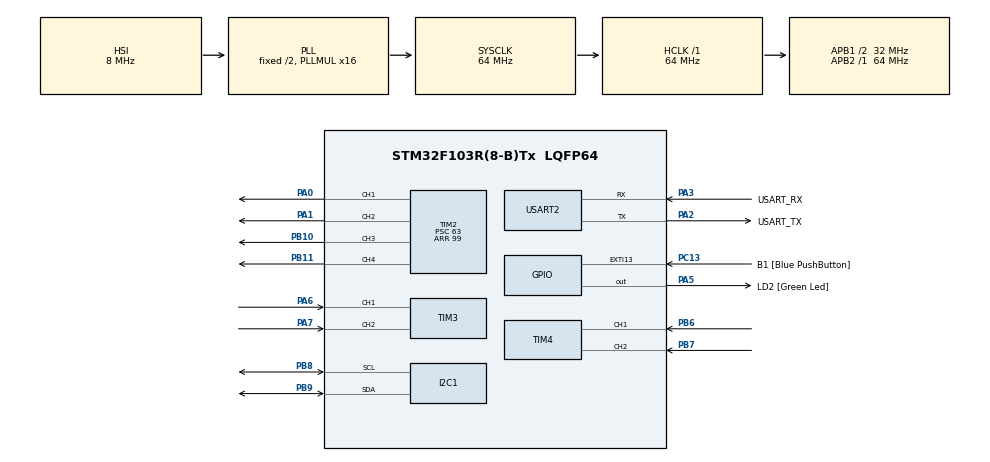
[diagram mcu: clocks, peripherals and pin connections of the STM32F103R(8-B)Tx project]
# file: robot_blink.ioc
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Mcu.Family=STM32F1
Mcu.Name=STM32F103R(8-B)Tx
Mcu.Package=LQFP64
NVIC.EXTI15_10_IRQn=true\:0\:0\:false\:false\:true\:true\:true\:true
NVIC.PriorityGroup=NVIC_PRIORITYGROUP_4
PA0-WKUP.Signal=S_TIM2_CH1_ETR
PA1.Signal=S_TIM2_CH2
PA13.GPIO_Label=TMS
PA13.Mode=Serial_Wire
PA13.Signal=SYS_JTMS-SWDIO
PA14.GPIO_Label=TCK
PA14.Mode=Serial_Wire
PA14.Signal=SYS_JTCK-SWCLK
PA2.GPIO_Label=USART_TX
PA2.GPIO_Mode=GPIO_MODE_AF_PP
PA2.GPIO_PuPd=GPIO_NOPULL
PA2.GPIO_Speed=GPIO_SPEED_FREQ_LOW
PA2.Mode=Asynchronous
PA2.Signal=USART2_TX
PA3.GPIO_Label=USART_RX
PA3.GPIO_Mode=GPIO_MODE_AF_PP
PA3.GPIO_PuPd=GPIO_NOPULL
PA3.GPIO_Speed=GPIO_SPEED_FREQ_LOW
PA3.Mode=Asynchronous
PA3.Signal=USART2_RX
PA5.GPIO_Label=LD2 [Green Led]
PA5.GPIO_ModeDefaultOutputPP=GPIO_MODE_OUTPUT_PP
PA5.GPIO_PuPd=GPIO_NOPULL
PA5.GPIO_Speed=GPIO_SPEED_FREQ_LOW
PA5.Signal=GPIO_Output
PA6.Signal=S_TIM3_CH1
PA7.Signal=S_TIM3_CH2
PB10.Signal=S_TIM2_CH3
PB11.Signal=S_TIM2_CH4
PB3.GPIO_Label=SWO
PB3.Signal=SYS_JTDO-TRACESWO
PB6.Signal=S_TIM4_CH1
PB7.Signal=S_TIM4_CH2
PB8.Mode=I2C
PB8.Signal=I2C1_SCL
PB9.Mode=I2C
PB9.Signal=I2C1_SDA
PC13-TAMPER-RTC.GPIO_Label=B1 [Blue PushButton]
PC13-TAMPER-RTC.GPIO_PuPd=GPIO_NOPULL
PC13-TAMPER-RTC.Signal=GPXTI13
PC14-OSC32_IN.Mode=LSE-External-Oscillator
PC14-OSC32_IN.Signal=RCC_OSC32_IN
PC15-OSC32_OUT.Mode=LSE-External-Oscillator
PC15-OSC32_OUT.Signal=RCC_OSC32_OUT
PD0-OSC_IN.Mode=HSE-External-Clock-Source
PD0-OSC_IN.Signal=RCC_OSC_IN
PD1-OSC_OUT.Mode=HSE-External-Clock-Source
PD1-OSC_OUT.Signal=RCC_OSC_OUT
ProjectManager.HeapSize=0x200
ProjectManager.StackSize=0x400
ProjectManager.TargetToolchain=CMake
RCC.AHBFreq_Value=64000000
RCC.APB1CLKDivider=RCC_HCLK_DIV2
RCC.APB1Freq_Value=32000000
RCC.APB1TimFreq_Value=64000000
RCC.APB2Freq_Value=64000000
RCC.APB2TimFreq_Value=64000000
RCC.HCLKFreq_Value=64000000
RCC.PLLMUL=RCC_PLL_MUL16
RCC.RTCClockSelection=RCC_RTCCLKSOURCE_LSE
RCC.SYSCLKFreq_VALUE=64000000
RCC.SYSCLKSource=RCC_SYSCLKSOURCE_PLLCLK
RCC.USBFreq_Value=64000000
SH.S_TIM2_CH1_ETR.0=TIM2_CH1,PWM Generation1 CH1
SH.S_TIM2_CH2.0=TIM2_CH2,PWM Generation2 CH2
SH.S_TIM2_CH3.0=TIM2_CH3,PWM Generation3 CH3
SH.S_TIM2_CH4.0=TIM2_CH4,PWM Generation4 CH4
SH.S_TIM3_CH1.0=TIM3_CH1,Encoder_Interface
SH.S_TIM3_CH2.0=TIM3_CH2,Encoder_Interface
SH.S_TIM4_CH1.0=TIM4_CH1,Encoder_Interface
SH.S_TIM4_CH2.0=TIM4_CH2,Encoder_Interface
TIM2.Channel-PWM\ Generation1\ CH1=TIM_CHANNEL_1
TIM2.Channel-PWM\ Generation2\ CH2=TIM_CHANNEL_2
TIM2.Channel-PWM\ Generation3\ CH3=TIM_CHANNEL_3
TIM2.Channel-PWM\ Generation4\ CH4=TIM_CHANNEL_4
TIM2.Period=99
TIM2.Prescaler=63
USART2.VirtualMode=VM_ASYNC
board=NUCLEO-F103RB

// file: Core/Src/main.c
/* USER CODE BEGIN Header */
/**
  ******************************************************************************
  * @file           : main.c
  * @brief          : Main program body
  ******************************************************************************
  * @attention
  *
  * Copyright (c) 2026 STMicroelectronics.
  * All rights reserved.
  *
  * This software is licensed under terms that can be found in the LICENSE file
  * in the root directory of this software component.
  * If no LICENSE file comes with this software, it is provided AS-IS.
  *
  ******************************************************************************
  */
/* USER CODE END Header */
#include "main.h"
#include "stm32f1xx_hal.h"
#include "stm32f1xx_hal_i2c.h"
#include "stm32f1xx_hal_tim.h"
#include <math.h>
#include <stdint.h>
#include <stdio.h>
#include <string.h>

/* USER CODE BEGIN PD */
#define MIN_DUTY 9
/* USER CODE END PD */

I2C_HandleTypeDef hi2c1;

TIM_HandleTypeDef htim2;
TIM_HandleTypeDef htim3;
TIM_HandleTypeDef htim4;

UART_HandleTypeDef huart2;

/* USER CODE BEGIN PV */

uint32_t  time_old=0;
float target_ang=1.0;
float gyro_ang = 0; //angle derived from integration
float  comp_ang =0; //complimentary angle derived from both gyro and acceleration sensor

float Kp = 30;          // very stiff: full authority by ~3 deg
float Kd = 0.4;         // heavy damping to survive the stiffness
float Ki = 0;           // out of the picture entirely

float gyro_f = 0;

float integral =0;

//define integer 32bits
uint32_t loop_count=0;

    //CAlIBRATION OF ACCELEROMETER OFFSETS X Y AND Z:

    //DEFINE CONSTANTS AND DECLAER

/* USER CODE END PV */

void SystemClock_Config(void);
static void MX_GPIO_Init(void);
static void MX_USART2_UART_Init(void);
static void MX_I2C1_Init(void);
static void MX_TIM3_Init(void);
static void MX_TIM4_Init(void);
static void MX_TIM2_Init(void);

/* USER CODE BEGIN 0 */

//gyro around y axis is pitch in our case, around x roll and z yaw, x and z gyro should be zero
void readIMU(int16_t *aX, int16_t *aY, int16_t *aZ, int16_t *gX, int16_t *gY, int16_t *gZ){

    uint8_t accel_data[6];

    //read accel data
    HAL_I2C_Mem_Read(&hi2c1, 0x68<<1,0x3B, 1, accel_data, 6, 100);

    uint8_t gyro_data[6];

    //read gyro data
    HAL_I2C_Mem_Read(&hi2c1, 0x68<<1,0x43, 1, gyro_data, 6, 100);

*aX=(accel_data[0]<<8) |accel_data[1];

*aY=(accel_data[2] <<8) |accel_data[3];

*aZ=(accel_data[4] <<8) |accel_data[5];

*gX=(gyro_data[0] <<8) |gyro_data[1];

*gY=(gyro_data[2] <<8) |gyro_data[3];

*gZ=(gyro_data[4] <<8) |gyro_data[5];
}

float PID(float dt,float comp_ang,float gyro_Z_deg){

    //PID LOOP
     //1 is the balance point for the robot as center of mass is slightly in the back
    float error = target_ang - comp_ang;

    //Kp constant = stiffeness of the spring with respect to current error size
    float P=Kp*error;

    //Kd constant = stiffeness with respect to speed of error changing
    float D = Kd*(-gyro_Z_deg);

    //Ki stiffeness/ reaction to KI error

 if (error > 1.5f || error < -1.5f){
       integral += error*dt;
   if (integral > 60) integral = 60;
   if (integral < -60) integral = -60;
 }

    float I = Ki*integral;

    //adding response
    return(P+I+D);
}

/* USER CODE END 0 */

int main(void)
{

  /* MCU Configuration--------------------------------------------------------*/

  /* Reset of all peripherals, Initializes the Flash interface and the Systick. */

  HAL_Init();

  /* Configure the system clock */
  SystemClock_Config();

  /* Initialize all configured peripherals */
  MX_GPIO_Init();
  MX_USART2_UART_Init();
  MX_I2C1_Init();
  MX_TIM3_Init();
  MX_TIM4_Init();
  MX_TIM2_Init();
  /* USER CODE BEGIN 2 */
  // wake up the MPU6050

  HAL_TIM_PWM_Start(&htim2, TIM_CHANNEL_1); //starts pin that connect to motor controller
  HAL_TIM_PWM_Start(&htim2, TIM_CHANNEL_2);

  HAL_TIM_PWM_Start(&htim2, TIM_CHANNEL_3); //starts pin that connect to motor controller
  HAL_TIM_PWM_Start(&htim2, TIM_CHANNEL_4);

  uint8_t wakeup = 0; //creates variable with assiged value 0

  uint8_t dlpf_setting= 3; // 44Hz

  HAL_I2C_Mem_Write(&hi2c1, 0x68<<1,0x1A,1,&dlpf_setting,1,100);

  // peripherrral name, mpu6050s address, register (power maagemet rergister), the adrress size (1 byte), poiter to the data im sending (wakekup varrriable is 0), how many bittes o send (1), timeoutt i ms (100ms++ imeou)
  HAL_I2C_Mem_Write(&hi2c1, 0x68<<1,0x6B,1,&wakeup,1,100);

    //CALIBRATE GYRO ON STARTUP WHILE NOTHING IS TILTING
      //LOOP THAT TAKES 500 READINGS OF GYRO AND REMOVIES BIAS (IF FLAT THEN X AND Y)

  /* USER CODE END 2 */

  /* Infinite loop */
  /* USER CODE BEGIN WHILE */
  while (1)

  {
    uint32_t now=HAL_GetTick();

    float dt=(now-time_old)/ 1000.0; //.0 is important to keep it a float

    time_old=now;

    /* USER CODE END WHILE */

    /* USER CODE BEGIN 3 */

  //read accelerometer code

    //create buffer

      int16_t accel_X;

      int16_t accel_Y;

      int16_t accel_Z;

      int16_t gyro_X;

      int16_t gyro_Y;

      int16_t gyro_Z;

      readIMU(&accel_X, &accel_Y, &accel_Z, &gyro_X, &gyro_Y, &gyro_Z);

      float angle_accel;
    angle_accel= atan2(-accel_Y,-accel_X);

      float angle_accel2;
    angle_accel2= atan2(accel_Y,-accel_X);

      float angle_deg_accel;

    angle_deg_accel=(angle_accel*180)/3.14159;

      float angle_deg_accel2;
    angle_deg_accel2=(angle_accel2*180)/3.14159;

      float gyro_Z_deg; //gyro in deg/s

gyro_Z_deg = -gyro_Z/131.0f;                 // (your existing line, sign included)
gyro_f = 0.7f * gyro_f + 0.3f * gyro_Z_deg;  // smoothing AFTER the value exists //output for gyro gets sent as 131/degree of rotation

      //integrate to get angle purely based on gyro

       gyro_ang = gyro_ang + gyro_f*dt;

      //integrate based on complimentary filter

        comp_ang = (comp_ang + (gyro_f*dt))*0.98 + angle_deg_accel*0.02;

    //print over UART
      //creates a buffer forr the text
    char msg[128];
      //replace each space by a number in order of X Y Z X...
    loop_count++;

    float output= -PID(dt,comp_ang,gyro_f);
    float mag = output; //mag is how much powerr is set ot motorr (magitude of pulse width)

    //absolute value
    if (mag<0){
    mag = -mag;
    }
    //clamp magnitude
    if (mag > 99){
      mag=90; //max duty is 99 but we'll clamp at 99
    }

    int duty=0;

    float err_now = comp_ang - target_ang;
        if (err_now > -2.5f && err_now < 2.5f && gyro_f > -40 && gyro_f < 40){
    duty = 0;
} else {
        duty = (int)(MIN_DUTY + mag * (99.0f - MIN_DUTY) / 90.0f);
    }

    if (mag<5){
     duty =0;
    }
    else{
    duty = (int)(MIN_DUTY + (mag - 5) * (99.0 - MIN_DUTY) / 85.0);
    }
    //safety switch (more than 45 means robot cant be saved so just stop spinning)

    if (comp_ang>45 || comp_ang<-45){
      __HAL_TIM_SET_COMPARE(&htim2, TIM_CHANNEL_1, 99);
      __HAL_TIM_SET_COMPARE(&htim2, TIM_CHANNEL_2, 99);
      __HAL_TIM_SET_COMPARE(&htim2, TIM_CHANNEL_3, 99);
     __HAL_TIM_SET_COMPARE(&htim2, TIM_CHANNEL_4, 99);
    }

    //if output is positive, spin forwards
    else{
      if (output>=0){
        __HAL_TIM_SET_COMPARE(&htim2, TIM_CHANNEL_2, 99-duty); //timer 2 chanel 1, PWM and two
        __HAL_TIM_SET_COMPARE(&htim2, TIM_CHANNEL_1, 99);
      //spin backwards
      }
      else if (output<0){
        __HAL_TIM_SET_COMPARE(&htim2, TIM_CHANNEL_1, 99-duty); //timer 2 chanel 1, PWM and two
        __HAL_TIM_SET_COMPARE(&htim2, TIM_CHANNEL_2, 99);
      }

      //motor B
      if (output>=0){
        __HAL_TIM_SET_COMPARE(&htim2, TIM_CHANNEL_4, 99-duty); //timer 2 chanel 1, PWM and two
        __HAL_TIM_SET_COMPARE(&htim2, TIM_CHANNEL_3, 99);
      }
      else if (output<0){
        __HAL_TIM_SET_COMPARE(&htim2, TIM_CHANNEL_3, 99-duty); //timer 2 chanel 1, PWM and two
        __HAL_TIM_SET_COMPARE(&htim2, TIM_CHANNEL_4, 99);
      }
    }
    if (loop_count>=50){ //every 50 loops (250 ms with 5ms delay)
      loop_count=0; //reset loop count

    //builds the strink to send over uart

sprintf(msg,"V12 a:%d c:%d g:%d out:%d d:%d\r\n",
    (int)angle_deg_accel,(int)comp_ang,(int)gyro_f,(int)output,(int)duty);

    //sprintf(msg,"Angle(acc): %d Angle(gyr): %d Angle_comp: %d inst_angle_gyro: %d (deg/s)\r\n ",(int)angle_deg_accel,(int)gyro_ang, (int)comp_ang, (int)gyro_Z_deg);

      //Send text over UART:
      //configured uart, text to send in bites, length of message (string), timeout if no response
      HAL_UART_Transmit(&huart2, (uint8_t*)msg, strlen(msg), 100);

    } //only prints 4 times/s

    HAL_Delay(5); //only 5ms delay to make frequency 200HZ

    //read values when lying in each of 6 axis to get offset in acceleration

    //values/16384 * 9.81 = accel in m/s^2

    //make complementary filter out of gyro and accel angle
    //0.98*(gyro current angle + dt*gyro(instantaneous))+0.02*(tan2(xaccel, zaccel)*180/3.14159)   we converted from rad to degrees

    //atan2 is needed to distinguish between - angles and + angles

    //PID loop and 3 constants: actually control the wheels and send commands
  /* USER CODE END 3 */
}
}
void SystemClock_Config(void)
{
  RCC_OscInitTypeDef RCC_OscInitStruct = {0};
  RCC_ClkInitTypeDef RCC_ClkInitStruct = {0};

  /** Initializes the RCC Oscillators according to the specified parameters
  * in the RCC_OscInitTypeDef structure.
  */
  RCC_OscInitStruct.OscillatorType = RCC_OSCILLATORTYPE_HSI;
  RCC_OscInitStruct.HSIState = RCC_HSI_ON;
  RCC_OscInitStruct.HSICalibrationValue = RCC_HSICALIBRATION_DEFAULT;
  RCC_OscInitStruct.PLL.PLLState = RCC_PLL_ON;
  RCC_OscInitStruct.PLL.PLLSource = RCC_PLLSOURCE_HSI_DIV2;
  RCC_OscInitStruct.PLL.PLLMUL = RCC_PLL_MUL16;
  if (HAL_RCC_OscConfig(&RCC_OscInitStruct) != HAL_OK)
  {
    Error_Handler();
  }

  /** Initializes the CPU, AHB and APB buses clocks
  */
  RCC_ClkInitStruct.ClockType = RCC_CLOCKTYPE_HCLK|RCC_CLOCKTYPE_SYSCLK
                              |RCC_CLOCKTYPE_PCLK1|RCC_CLOCKTYPE_PCLK2;
  RCC_ClkInitStruct.SYSCLKSource = RCC_SYSCLKSOURCE_PLLCLK;
  RCC_ClkInitStruct.AHBCLKDivider = RCC_SYSCLK_DIV1;
  RCC_ClkInitStruct.APB1CLKDivider = RCC_HCLK_DIV2;
  RCC_ClkInitStruct.APB2CLKDivider = RCC_HCLK_DIV1;

  if (HAL_RCC_ClockConfig(&RCC_ClkInitStruct, FLASH_LATENCY_2) != HAL_OK)
  {
    Error_Handler();
  }
}

static void MX_I2C1_Init(void)
{

  hi2c1.Instance = I2C1;
  hi2c1.Init.ClockSpeed = 100000;
  hi2c1.Init.DutyCycle = I2C_DUTYCYCLE_2;
  hi2c1.Init.OwnAddress1 = 0;
  hi2c1.Init.AddressingMode = I2C_ADDRESSINGMODE_7BIT;
  hi2c1.Init.DualAddressMode = I2C_DUALADDRESS_DISABLE;
  hi2c1.Init.OwnAddress2 = 0;
  hi2c1.Init.GeneralCallMode = I2C_GENERALCALL_DISABLE;
  hi2c1.Init.NoStretchMode = I2C_NOSTRETCH_DISABLE;
  if (HAL_I2C_Init(&hi2c1) != HAL_OK)
  {
    Error_Handler();
  }

}

static void MX_TIM2_Init(void)
{

  TIM_MasterConfigTypeDef sMasterConfig = {0};
  TIM_OC_InitTypeDef sConfigOC = {0};

  htim2.Instance = TIM2;
  htim2.Init.Prescaler = 63;
  htim2.Init.CounterMode = TIM_COUNTERMODE_UP;
  htim2.Init.Period = 99;
  htim2.Init.ClockDivision = TIM_CLOCKDIVISION_DIV1;
  htim2.Init.AutoReloadPreload = TIM_AUTORELOAD_PRELOAD_DISABLE;
  if (HAL_TIM_PWM_Init(&htim2) != HAL_OK)
  {
    Error_Handler();
  }
  sMasterConfig.MasterOutputTrigger = TIM_TRGO_RESET;
  sMasterConfig.MasterSlaveMode = TIM_MASTERSLAVEMODE_DISABLE;
  if (HAL_TIMEx_MasterConfigSynchronization(&htim2, &sMasterConfig) != HAL_OK)
  {
    Error_Handler();
  }
  sConfigOC.OCMode = TIM_OCMODE_PWM1;
  sConfigOC.Pulse = 0;
  sConfigOC.OCPolarity = TIM_OCPOLARITY_HIGH;
  sConfigOC.OCFastMode = TIM_OCFAST_DISABLE;
  if (HAL_TIM_PWM_ConfigChannel(&htim2, &sConfigOC, TIM_CHANNEL_1) != HAL_OK)
  {
    Error_Handler();
  }
  if (HAL_TIM_PWM_ConfigChannel(&htim2, &sConfigOC, TIM_CHANNEL_2) != HAL_OK)
  {
    Error_Handler();
  }
  if (HAL_TIM_PWM_ConfigChannel(&htim2, &sConfigOC, TIM_CHANNEL_3) != HAL_OK)
  {
    Error_Handler();
  }
  if (HAL_TIM_PWM_ConfigChannel(&htim2, &sConfigOC, TIM_CHANNEL_4) != HAL_OK)
  {
    Error_Handler();
  }
  HAL_TIM_MspPostInit(&htim2);

}

static void MX_TIM3_Init(void)
{

  TIM_Encoder_InitTypeDef sConfig = {0};
  TIM_MasterConfigTypeDef sMasterConfig = {0};

  htim3.Instance = TIM3;
  htim3.Init.Prescaler = 0;
  htim3.Init.CounterMode = TIM_COUNTERMODE_UP;
  htim3.Init.Period = 65535;
  htim3.Init.ClockDivision = TIM_CLOCKDIVISION_DIV1;
  htim3.Init.AutoReloadPreload = TIM_AUTORELOAD_PRELOAD_DISABLE;
  sConfig.EncoderMode = TIM_ENCODERMODE_TI1;
  sConfig.IC1Polarity = TIM_ICPOLARITY_RISING;
  sConfig.IC1Selection = TIM_ICSELECTION_DIRECTTI;
  sConfig.IC1Prescaler = TIM_ICPSC_DIV1;
  sConfig.IC1Filter = 0;
  sConfig.IC2Polarity = TIM_ICPOLARITY_RISING;
  sConfig.IC2Selection = TIM_ICSELECTION_DIRECTTI;
  sConfig.IC2Prescaler = TIM_ICPSC_DIV1;
  sConfig.IC2Filter = 0;
  if (HAL_TIM_Encoder_Init(&htim3, &sConfig) != HAL_OK)
  {
    Error_Handler();
  }
  sMasterConfig.MasterOutputTrigger = TIM_TRGO_RESET;
  sMasterConfig.MasterSlaveMode = TIM_MASTERSLAVEMODE_DISABLE;
  if (HAL_TIMEx_MasterConfigSynchronization(&htim3, &sMasterConfig) != HAL_OK)
  {
    Error_Handler();
  }

}

static void MX_TIM4_Init(void)
{

  TIM_Encoder_InitTypeDef sConfig = {0};
  TIM_MasterConfigTypeDef sMasterConfig = {0};

  htim4.Instance = TIM4;
  htim4.Init.Prescaler = 0;
  htim4.Init.CounterMode = TIM_COUNTERMODE_UP;
  htim4.Init.Period = 65535;
  htim4.Init.ClockDivision = TIM_CLOCKDIVISION_DIV1;
  htim4.Init.AutoReloadPreload = TIM_AUTORELOAD_PRELOAD_DISABLE;
  sConfig.EncoderMode = TIM_ENCODERMODE_TI1;
  sConfig.IC1Polarity = TIM_ICPOLARITY_RISING;
  sConfig.IC1Selection = TIM_ICSELECTION_DIRECTTI;
  sConfig.IC1Prescaler = TIM_ICPSC_DIV1;
  sConfig.IC1Filter = 0;
  sConfig.IC2Polarity = TIM_ICPOLARITY_RISING;
  sConfig.IC2Selection = TIM_ICSELECTION_DIRECTTI;
  sConfig.IC2Prescaler = TIM_ICPSC_DIV1;
  sConfig.IC2Filter = 0;
  if (HAL_TIM_Encoder_Init(&htim4, &sConfig) != HAL_OK)
  {
    Error_Handler();
  }
  sMasterConfig.MasterOutputTrigger = TIM_TRGO_RESET;
  sMasterConfig.MasterSlaveMode = TIM_MASTERSLAVEMODE_DISABLE;
  if (HAL_TIMEx_MasterConfigSynchronization(&htim4, &sMasterConfig) != HAL_OK)
  {
    Error_Handler();
  }

}

static void MX_USART2_UART_Init(void)
{

  huart2.Instance = USART2;
  huart2.Init.BaudRate = 115200;
  huart2.Init.WordLength = UART_WORDLENGTH_8B;
  huart2.Init.StopBits = UART_STOPBITS_1;
  huart2.Init.Parity = UART_PARITY_NONE;
  huart2.Init.Mode = UART_MODE_TX_RX;
  huart2.Init.HwFlowCtl = UART_HWCONTROL_NONE;
  huart2.Init.OverSampling = UART_OVERSAMPLING_16;
  if (HAL_UART_Init(&huart2) != HAL_OK)
  {
    Error_Handler();
  }

}

static void MX_GPIO_Init(void)
{
  GPIO_InitTypeDef GPIO_InitStruct = {0};

  /* GPIO Ports Clock Enable */
  __HAL_RCC_GPIOC_CLK_ENABLE();
  __HAL_RCC_GPIOD_CLK_ENABLE();
  __HAL_RCC_GPIOA_CLK_ENABLE();
  __HAL_RCC_GPIOB_CLK_ENABLE();

  /*Configure GPIO pin Output Level */
  HAL_GPIO_WritePin(LD2_GPIO_Port, LD2_Pin, GPIO_PIN_RESET);

  /*Configure GPIO pin : B1_Pin */
  GPIO_InitStruct.Pin = B1_Pin;
  GPIO_InitStruct.Mode = GPIO_MODE_IT_RISING;
  GPIO_InitStruct.Pull = GPIO_NOPULL;
  HAL_GPIO_Init(B1_GPIO_Port, &GPIO_InitStruct);

  /*Configure GPIO pin : LD2_Pin */
  GPIO_InitStruct.Pin = LD2_Pin;
  GPIO_InitStruct.Mode = GPIO_MODE_OUTPUT_PP;
  GPIO_InitStruct.Pull = GPIO_NOPULL;
  GPIO_InitStruct.Speed = GPIO_SPEED_FREQ_LOW;
  HAL_GPIO_Init(LD2_GPIO_Port, &GPIO_InitStruct);

  /* EXTI interrupt init*/
  HAL_NVIC_SetPriority(EXTI15_10_IRQn, 0, 0);
  HAL_NVIC_EnableIRQ(EXTI15_10_IRQn);

}

void Error_Handler(void)
{
  __disable_irq();
  while (1)
  {
  }
}
